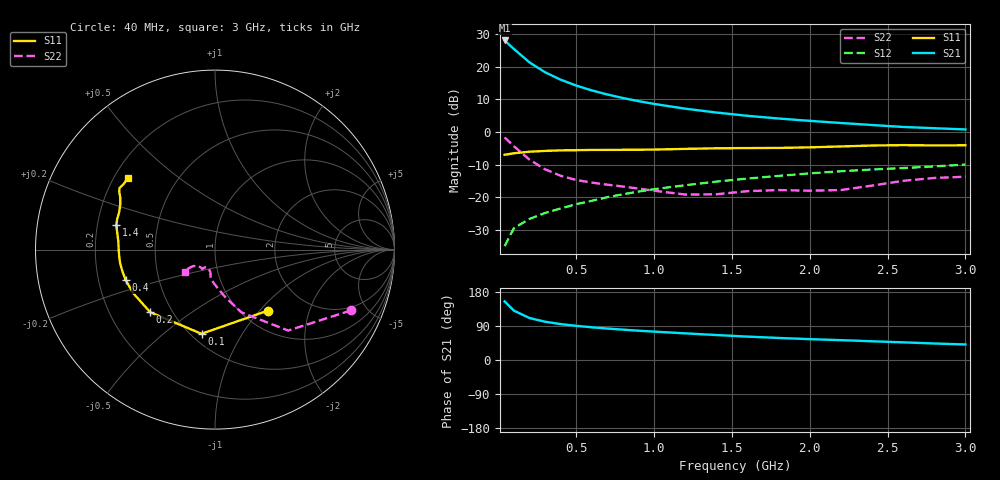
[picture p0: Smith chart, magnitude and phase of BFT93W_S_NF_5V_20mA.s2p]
! Filename:  BFT93WC.S2P  Version:  4.0
! Philips part #: BFT93W  Date: Jun 1994
! Bias condition: Vce=5V, Ic=20mA
#  MHz  S  MA  R  50
! Freq  S11  S21  S12  S22  !GUM [dB]
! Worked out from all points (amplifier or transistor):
!   21 points, 40 MHz to 3 GHz, reference 50 ohm
!   highest |S21| = 28.1 dB at 40 MHz (marker M1)
!   |S21| within 3 dB of that: start of sweep to 109.2 MHz
!   unconditionally stable (mu >= 1): 514.2 MHz to end of sweep
!   at 300 MHz: K = 0.83, MSG = 21.5 dB, |S12| = -24.7 dB
!   at 1 GHz: K = 1.12, MAG = 11.0 dB, |S12| = -17.5 dB
!   at 3 GHz: K = 1.04, MAG = 4.1 dB, |S12| = -9.9 dB
!   lowest NFmin = 2.80 dB at 500 MHz
!   S11 on the Smith chart (normalised r, x): 40 MHz: 1.30, -1.11; 100 MHz: 0.56, -0.68; 200 MHz: 0.38, -0.35; 400 MHz: 0.32, -0.15; 1.4 GHz: 0.28, +0.11; 3 GHz: 0.25, +0.34
40  0.45 -49.1  25.27 154.6  0.018 72.5  0.83 -24.1
100  0.475 -99.1  18.68 130.2  0.034 59.2  0.608 -47.9
200  0.502 -135.9  11.66 110.7  0.047 54.5  0.379 -67.2
300  0.516 -151.8  8.244 101.0  0.058 55.6  0.27 -77.9
400  0.526 -161.1  6.342 94.7  0.068 58.1  0.215 -86.1
500  0.53 -167.1  5.156 90.2  0.079 60.1  0.185 -92.5
600  0.534 -171.9  4.35 86.3  0.089 61.9  0.169 -96.7
700  0.535 -175.7  3.768 83.0  0.101 63.2  0.157 -98.7
800  0.536 -179.1  3.326 80.1  0.112 64.0  0.147 -99.8
900  0.538 177.7  2.98 77.3  0.123 64.8  0.137 -100.5
1000  0.541 174.9  2.703 74.9  0.134 65.4  0.127 -101.9
1200  0.554 169.8  2.285 70.3  0.154 66.2  0.111 -109.1
1400  0.566 166.1  1.995 65.9  0.175 66.6  0.112 -118.8
1600  0.571 162.6  1.777 61.7  0.195 66.0  0.125 -122.9
1800  0.573 158.8  1.616 58.2  0.214 66.0  0.13 -123.1
2000  0.585 154.4  1.488 55.0  0.234 66.1  0.127 -126.2
2200  0.604 151.0  1.38 52.4  0.252 66.2  0.13 -135.1
2400  0.624 148.8  1.285 49.4  0.268 66.2  0.152 -143.0
2600  0.633 147.1  1.2 46.6  0.282 65.5  0.18 -144.7
2800  0.626 144.3  1.148 43.5  0.299 65.0  0.199 -143.3
3000  0.629 140.8  1.1 41.0  0.319 64.7  0.208 -143.7
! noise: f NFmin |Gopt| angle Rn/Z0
500  2.8  0.301  100.8  0.61
1000  3.6  0.356  152.2  0.28
